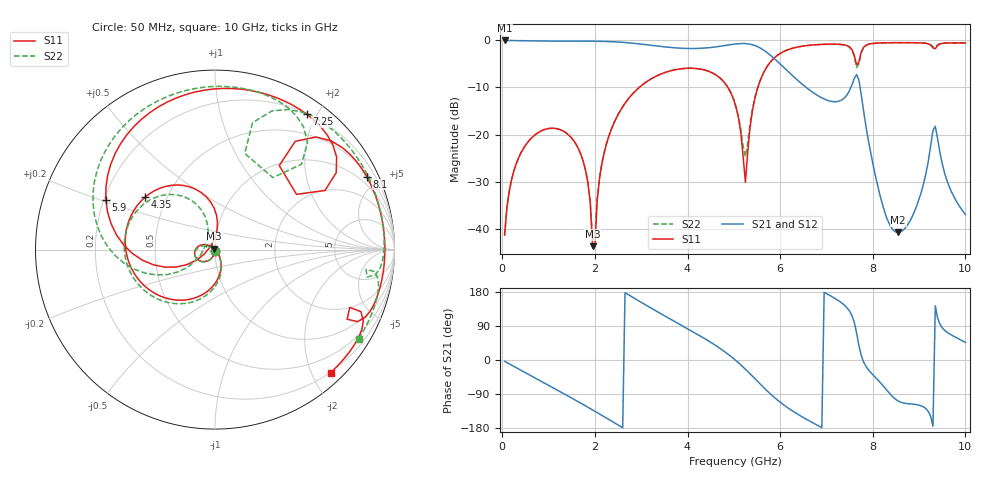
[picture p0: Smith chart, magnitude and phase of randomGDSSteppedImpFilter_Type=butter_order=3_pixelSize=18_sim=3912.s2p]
! freq	dB(S11)	phase(S11)	dB(S12)	phase(S12)
!  dB(S21)	phase(S21)	dB(S22)	phase(S22)
!S-par simulation data
#  GHz  S  DB  R 50
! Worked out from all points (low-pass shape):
!   200 points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, 50 MHz to 10 GHz, reference 50 ohm
!   highest |S21| = -0.01 dB at 50 MHz (marker M1); lowest = -40.8 dB at 8.55 GHz (marker M2)
!   |S21| within 3 dB of the highest: start of sweep to 5.773 GHz
!   lowest |S11| = -43.7 dB at 1.95 GHz (marker M3), VSWR 1.01, Z = 49.6 + j0.516 ohm
!   |S11| at or under -10 dB: start of sweep to 2.957 GHz; 4.87 GHz to 5.519 GHz (649 MHz wide, 12.5 % of centre)
!   |S22| runs from -42.3 to -0.5 dB; largest |S21 - S12| = 0
!   S11 on the Smith chart (normalised r, x): 50 MHz: 1.00, -0.02; 4.35 GHz: 0.38, +0.29; 5.9 GHz: 0.21, +0.21; 7.25 GHz: 0.21, +1.86; 8.1 GHz: 0.64, +4.30; 10 GHz: 0.19, -2.30
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0.05  -41.38 -90.1  -0.01 -3.4  -0.01 -3.4  -41.36 -90.1
0.25  -27.74 -106.7  -0.04 -16.9  -0.04 -16.9  -27.74 -106.1
0.65  -20.56 -134.7  -0.10 -43.6  -0.10 -43.6  -20.56 -133.0
1.75  -25.78 148.9  -0.16 -117.7  -0.16 -117.7  -25.79 157.5
1.95  -43.74 126.8  -0.16 -131.7  -0.16 -131.7  -42.30 176.8
2.35  -19.01 -73.1  -0.26 -160.5  -0.26 -160.5  -18.97 -71.6
3.4  -7.25 -150.2  -1.26 123.9  -1.26 123.9  -7.24 -143.2
4.35  -6.25 143.2  -1.64 58.0  -1.64 58.0  -6.24 154.5
5.05  -14.32 87.5  -0.74 -2.0  -0.74 -2.0  -14.12 106.8
5.25  -30.16 150.0  -0.67 -24.3  -0.67 -24.3  -24.73 162.2
5.45  -12.53 -155.8  -1.07 -48.7  -1.07 -48.7  -12.30 -149.0
5.9  -3.49 155.4  -4.09 -101.3  -4.09 -101.3  -3.47 168.4
6.7  -0.97 90.6  -11.01 -165.4  -11.01 -165.4  -0.98 107.0
7.25  -0.81 56.0  -12.96 157.4  -12.96 157.4  -0.84 73.3
7.65  -5.21 34.1  -7.25 72.2  -7.25 72.2  -5.77 51.2
7.8  -1.49 48.1  -14.89 -4.6  -14.89 -4.6  -1.56 67.7
8.1  -0.56 25.7  -30.62 -51.3  -30.62 -51.3  -0.57 44.3
8.35  -0.49 13.1  -38.84 -86.3  -38.84 -86.3  -0.50 31.4
8.55  -0.48 4.0  -40.81 -108.2  -40.81 -108.2  -0.48 22.1
8.95  -0.51 -12.9  -35.12 -117.8  -35.12 -117.8  -0.50 4.8
9.35  -1.76 -23.2  -18.27 143.1  -18.27 143.1  -1.42 -7.5
10  -0.54 -46.8  -36.99 46.5  -36.99 46.5  -0.51 -31.7
